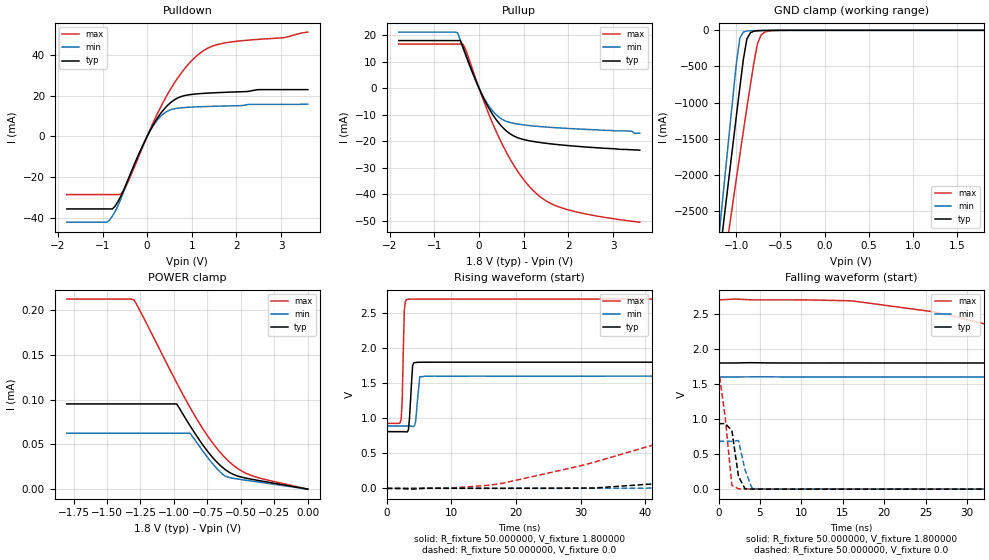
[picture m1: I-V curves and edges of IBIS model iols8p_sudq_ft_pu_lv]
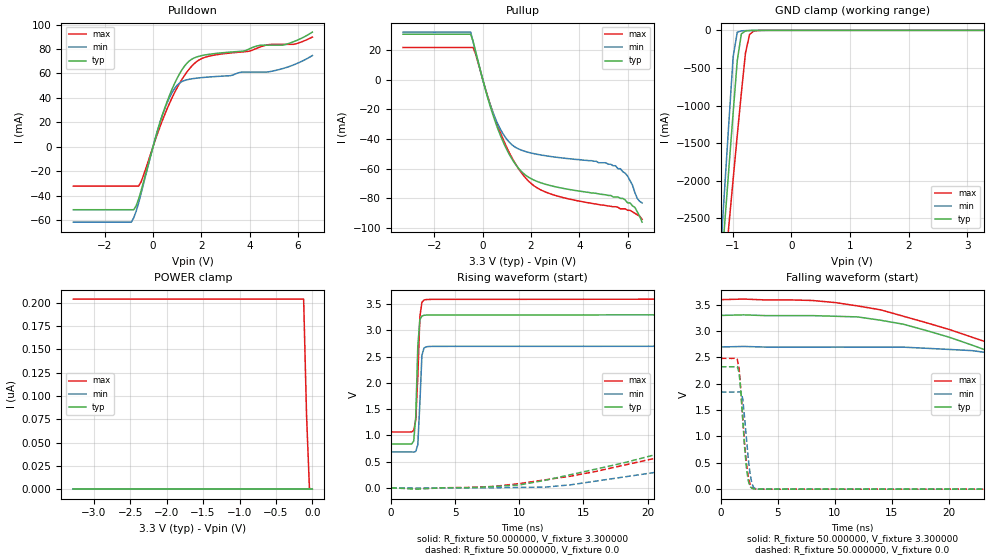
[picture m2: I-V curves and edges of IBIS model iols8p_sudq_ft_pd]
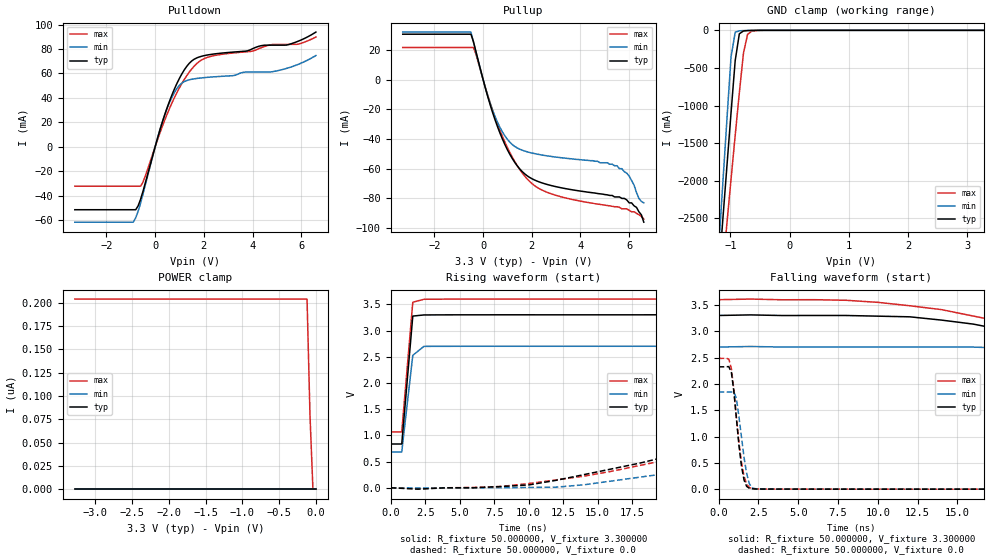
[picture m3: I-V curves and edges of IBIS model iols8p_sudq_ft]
| IBIS file stm32c0_443_wlcsp12.ibs
| Created by s2ibis version 1.1 (customized version)
| North Carolina State University, ERL, 2006
[IBIS ver] 4.2
[File name] stm32c0_443_wlcsp12.ibs
[File Rev] rev1.1
[Date]  2023-01-06
[Source] Data Created at STMicroelectronics
[Notes]  File originated from ELDO simulations.
[Disclaimer]  This information is for modeling purpose only and is
   not guaranted. The information is subject to change without
   notice.
[Copyright] Copyright 2013 STMicroelectronics Inc.
|   Component stm32c0_443_wlcsp12
[Component] stm32c0_443_wlcsp12
[Manufacturer] STMicroelectronics
[Package]
| variable   typ   min   max
R_pkg   0.0   0.0   0.0
L_pkg   0.0H   0.0H   0.0H
C_pkg   0.0F   0.0F   0.0F
[Pin]   signal_name   model_name
A2  PB6  io8prog2m25m50m120m_sudq_i2c_ft
A4  PC15  io8prog2m25m50m120m_sudq_ft
B1  PA13  io8prog2m25m50m120m_sudq_ft
B3  PC14  io8prog2m25m50m120m_sudq_i2c_ft
C2  PA14  io8prog2m25m50m120m_sudq_ft
C4  VDD  power
D3  PB7  io8prog2m25m50m120m_sudq_i2c_ft
E4  VSS  gnd
F1  PA3-PA4-PA5-PA6  io8prog2m25m50m120m_sudq_ft
F3  PF2-PA0-PA1-PA2  io8prog2m25m50m120m_sudq_ft
| in case PA8 is used
| D1  PA8-PA11  io8prog2m25m50m120m_sudq_ft
| in case PA11 is used
D1  PA8-PA11  io8prog2m25m50m120m_sudq_i2c_ft
| in case PA7 is used
| E2  PA12-PA7  io8prog2m25m50m120m_sudq_ft
| in case PA12 is used
E2  PA12-PA7  io8prog2m25m50m120m_sudq_i2c_ft
[Package Model]   443-wlcsp-12-220419
[Pin Mapping]   pulldown_ref   pullup_ref   | Comment
A2  gndio  vddiom
A4  gndio  vddiom
B1  gndio  vddiom
B3  gndio  vddiom
C2  gndio  vddiom
C4  nc  vddiom
D1  gndio  vddiom
D3  gndio  vddiom
E2  gndio  vddiom
E4  gndio  nc
F1  gndio  vddiom
F3  gndio  vddiom
[Model Selector] io8prog2m25m50m120m_sudq_ft
iols8p_sudq_ft_pd_lv  "IO low speed, PD=40kOhm - 1P8V"
iols8p_sudq_ft_pu_lv  "IO low speed, PU=40kOhm - 1P8V"
iols8p_sudq_ft_lv  "IO low speed - 1P8V"
iols8p_sudq_ft_pd  "IO low speed, PD=40kOhm - 3P3V"
iols8p_sudq_ft_pu  "IO low speed, PU=40kOhm - 3P3V"
iols8p_sudq_ft  "IO low speed - 3P3V"
iofs8p_sudq_ft_pd_lv  "IO full speed, PD=40kOhm - 1P8V"
iofs8p_sudq_ft_pu_lv  "IO full speed, PU=40kOhm - 1P8V"
iofs8p_sudq_ft_lv  "IO full speed - 1P8V"
iofs8p_sudq_ft_pd  "IO full speed, PD=40kOhm - 3P3V"
iofs8p_sudq_ft_pu  "IO full speed, PU=40kOhm - 3P3V"
iofs8p_sudq_ft  "IO full speed - 3P3V"
ioms8p_sudq_ft_pd_lv  "IO medium speed, PD=40kOhm - 1P8V"
ioms8p_sudq_ft_pu_lv  "IO medium speed, PU=40kOhm - 1P8V"
ioms8p_sudq_ft_lv  "IO medium speed - 1P8V"
ioms8p_sudq_ft_pd  "IO medium speed, PD=40kOhm - 3P3V"
ioms8p_sudq_ft_pu  "IO medium speed, PU=40kOhm - 3P3V"
ioms8p_sudq_ft  "IO medium speed - 3P3V"
iohs8p_sudq_ft_pd_lv  "IO high speed, PD=40kOhm - 1P8V"
iohs8p_sudq_ft_pu_lv  "IO high speed, PU=40kOhm - 1P8V"
iohs8p_sudq_ft_lv  "IO high speed - 1P8V"
iohs8p_sudq_ft_pd  "IO high speed, PD=40kOhm - 3P3V"
iohs8p_sudq_ft_pu  "IO high speed, PU=40kOhm - 3P3V"
iohs8p_sudq_ft  "IO high speed - 3P3V"
[Model Selector] io8prog2m25m50m120m_sudq_i2c_ft
io8prog_1v8_i2c_pd  "5V Tol GPIO 1.8V range i2c functionality with pull down"
io8prog_1v8_i2c_pu  "5V Tol GPIO 1.8V range i2c functionality with pull up"
io8prog_1v8_i2c  "5V Tol GPIO 1.8V range i2c functionality"
io8prog_3v3_i2c_pd  "5V Tol GPIO 3.3V range i2c functionality with pull down"
io8prog_3v3_i2c_pu  "5V Tol GPIO 3.3V range i2c functionality with pull up"
io8prog_3v3_i2c  "5V Tol GPIO 3.3V range i2c functionality"
iols8p_sudq_ft_pd_lv  "IO low speed, PD=40kOhm - 1P8V"
iols8p_sudq_ft_pu_lv  "IO low speed, PU=40kOhm - 1P8V"
iols8p_sudq_ft_lv  "IO low speed - 1P8V"
iols8p_sudq_ft_pd  "IO low speed, PD=40kOhm - 3P3V"
iols8p_sudq_ft_pu  "IO low speed, PU=40kOhm - 3P3V"
iols8p_sudq_ft  "IO low speed - 3P3V"
iofs8p_sudq_ft_pd_lv  "IO full speed, PD=40kOhm - 1P8V"
iofs8p_sudq_ft_pu_lv  "IO full speed, PU=40kOhm - 1P8V"
iofs8p_sudq_ft_lv  "IO full speed - 1P8V"
iofs8p_sudq_ft_pd  "IO full speed, PD=40kOhm - 3P3V"
iofs8p_sudq_ft_pu  "IO full speed, PU=40kOhm - 3P3V"
iofs8p_sudq_ft  "IO full speed - 3P3V"
ioms8p_sudq_ft_pd_lv  "IO medium speed, PD=40kOhm - 1P8V"
ioms8p_sudq_ft_pu_lv  "IO medium speed, PU=40kOhm - 1P8V"
ioms8p_sudq_ft_lv  "IO medium speed - 1P8V"
ioms8p_sudq_ft_pd  "IO medium speed, PD=40kOhm - 3P3V"
ioms8p_sudq_ft_pu  "IO medium speed, PU=40kOhm - 3P3V"
ioms8p_sudq_ft  "IO medium speed - 3P3V"
iohs8p_sudq_ft_pd_lv  "IO high speed, PD=40kOhm - 1P8V"
iohs8p_sudq_ft_pu_lv  "IO high speed, PU=40kOhm - 1P8V"
iohs8p_sudq_ft_lv  "IO high speed - 1P8V"
iohs8p_sudq_ft_pd  "IO high speed, PD=40kOhm - 3P3V"
iohs8p_sudq_ft_pu  "IO high speed, PU=40kOhm - 3P3V"
iohs8p_sudq_ft  "IO high speed - 3P3V"
[Define Package Model]  443-wlcsp-12-220419
[Manufacturer]  Unknown
[OEM]  Unknown
[Description]  None
[Number Of Pins]  12
[Pin Numbers]
| Pin Num   Terminal Name
B1 | PA13
C2 | PA14
E2 | PA12-PA7
F1 | PA3-PA4-PA5-PA6
D1 | PA8-PA11
A2 | PB6
D3 | PB7
B3 | PC14
A4 | PC15
F3 | PF2-PA0-PA1-PA2
C4 | VDD
E4 | VSS
[Model Data]
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[End Model Data]
[End Package Model]
| Models and submodels in the file (30): iols8p_sudq_ft_pd_lv (I/O), iols8p_sudq_ft_pu_lv (I/O), iols8p_sudq_ft_lv (I/O), iols8p_sudq_ft_pd (I/O), iols8p_sudq_ft_pu (I/O), iols8p_sudq_ft (I/O), iofs8p_sudq_ft_pd_lv (I/O), iofs8p_sudq_ft_pu_lv (I/O), iofs8p_sudq_ft_lv (I/O), iofs8p_sudq_ft_pd (I/O), iofs8p_sudq_ft_pu (I/O), iofs8p_sudq_ft (I/O), ioms8p_sudq_ft_pd_lv (I/O), ioms8p_sudq_ft_pu_lv (I/O), ioms8p_sudq_ft_lv (I/O), ioms8p_sudq_ft_pd (I/O), ioms8p_sudq_ft_pu (I/O), ioms8p_sudq_ft (I/O), iohs8p_sudq_ft_pd_lv (I/O), iohs8p_sudq_ft_pu_lv (I/O), iohs8p_sudq_ft_lv (I/O), iohs8p_sudq_ft_pd (I/O), iohs8p_sudq_ft_pu (I/O), iohs8p_sudq_ft (I/O), io8prog_1v8_i2c_pd (I/O_open_drain), io8prog_1v8_i2c_pu (I/O_open_drain), io8prog_1v8_i2c (I/O_open_drain), io8prog_3v3_i2c_pd (I/O_open_drain), io8prog_3v3_i2c_pu (I/O_open_drain), io8prog_3v3_i2c (I/O_open_drain)
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|   Model iols8p_sudq_ft_pu_lv
[Model]  iols8p_sudq_ft_pu_lv
Model_type I/O
Polarity   Non-Inverting
Enable   Active-Low
Vinl =   0.540000V
Vinh =   1.260000V
Vmeas =  0.900000V
Cref =   50.000000pF
Rref =   100.000000M
Vref =   0.0V
C_comp   1.984800pF   1.899400pF   2.077500pF
[Temperature Range]   25.000000   -40.000000   0.125000k
[Pullup Reference]   1.800000V   1.600000V   2.700000V
[Pulldown Reference]   0.0V   0.0V   0.0V
[POWER Clamp Reference]   1.800000V   1.600000V   2.700000V
[GND Clamp Reference]   0.0V   0.0V   0.0V
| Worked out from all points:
|   slope of the pulldown table from 0 to 0.27 V, typ, clamps not added: 26.4 ohm
|   slope of the pullup table from 0 to 0.27 V, typ, clamps not added: 30.1 ohm
|   GND clamp passes 1 mA (typ) near -0.61 V on its own axis
|   rising waveform, R_fixture 50.000000, V_fixture 1.800000: 20-80 % time 379ps typ, 423ps min, 265ps max; typ from 0.81 V to 1.8 V
|   rising waveform, R_fixture 50.000000, V_fixture 0.0: 20-80 % time 68.6ns typ, 74.3ns min, 45.2ns max; typ from 0.001 V to 0.935 V
|   falling waveform, R_fixture 50.000000, V_fixture 1.800000: 20-80 % time 72.7ns typ, 95.3ns min, 37.6ns max; typ from 1.8 V to 0.81 V
|   falling waveform, R_fixture 50.000000, V_fixture 0.0: 20-80 % time 683ps typ, 950ps min, 966ps max; typ from 0.935 V to 0.001 V
[Pulldown]
|Voltage   I(typ)   I(min)   I(max)
-1.8V     -35.64mA   -42.15mA   -28.59mA
-900mV    -35.64mA   -42.15mA   -28.59mA
-780mV    -35.64mA   -39.2mA    -28.59mA
-600mV    -29.83mA   -31.3mA    -28.52mA
-420mV    -20.8mA    -21.07mA   -21.98mA
60mV      2.604mA    2.459mA    3.062mA
240mV     9.303mA    8.31mA     11.61mA
480mV     15.67mA    12.64mA    21.52mA
720mV     19.18mA    13.9mA     29.74mA
960mV     20.46mA    14.3mA     36.27mA
1.44V     21.29mA    14.7mA     44.06mA
3.6V      22.91mA    15.79mA    51.15mA
[Pullup]
|Voltage   I(typ)   I(min)   I(max)
-1.8V     18.05mA    21.25mA    16.71mA
-540mV    18.05mA    21.25mA    16.71mA
-480mV    18.05mA    20.96mA    16.71mA
-420mV    18.05mA    18.11mA    16.71mA
-360mV    15.57mA    15.21mA    16.71mA
60mV      -2.268mA   -2.095mA   -2.822mA
360mV     -11.31mA   -9.605mA   -15.45mA
600mV     -15.96mA   -12.42mA   -23.82mA
840mV     -18.52mA   -13.44mA   -30.72mA
1.38V     -20.52mA   -14.48mA   -41.14mA
2.1V      -21.8mA    -15.27mA   -46.39mA
3.6V      -23.4mA    -17mA      -50.6mA
[GND_clamp]
|Voltage   I(typ)   I(min)   I(max)
-1.8V     -9.477A    -9.805A    -9.016A
-1.2V     -3.243A    -2.9A      -3.759A
-1.16V    -2.83A     -2.409A    -3.417A
-1.12V    -2.418A    -1.919A    -3.076A
-1.08V    -2.008A    -1.431A    -2.736A
-1V       -1.194A    -466mA     -2.061A
-960mV    -792.8mA   -108.7mA   -1.727A
-920mV    -402mA     -24.35mA   -1.396A
-880mV    -117.8mA   -9.188mA   -1.071A
-760mV    -5.896mA   -2.88mA    -183.8mA
-680mV    -2.395mA   -1.099mA   -26.61mA
1.8V      0A         0A         0A
[POWER_clamp]
|Voltage   I(typ)   I(min)   I(max)
-1.8V     95.27uA    62.52uA    212.4uA
-1.3V     95.27uA    62.52uA    211.7uA
-1.24V    95.27uA    62.52uA    195.4uA
-980mV    95.27uA    62.52uA    119uA
-880mV    70.93uA    62.52uA    91.35uA
-740mV    40.61uA    33.79uA    57.65uA
-640mV    24.64uA    16.99uA    38.63uA
-600mV    20.11uA    13.6uA     32.43uA
-540mV    15.51uA    11.72uA    24.8uA
-440mV    11.66uA    9.491uA    16.35uA
-340mV    8.934uA    7.326uA    11.65uA
0V        0A         0A         0A
[Ramp]
| variable   typ   min   max
dV/dt_r  0.56095/68.67975n   0.40953/74.27229n   1.02717/44.98407n
dV/dt_f  0.59405/72.60739n   0.42589/95.26095n   1.06315/37.53994n
R_load = 50.000000
[Rising Waveform]
R_fixture= 50.000000
V_fixture= 1.800000
V_fixture_min= 1.600000
V_fixture_max= 2.700000
|time   V(typ)   V(min)   V(max)
0s        809.8mV    890.3mV    928.1mV
2.242ns   809.8mV    890.3mV    993.3mV
2.402ns   809.8mV    890.3mV    1.271V
2.723ns   809mV      890.3mV    2.541V
3.203ns   807.2mV    890.4mV    2.695V
4.004ns   1.748V     884.3mV    2.699V
4.484ns   1.796V     960.8mV    2.699V
5.125ns   1.799V     1.593V     2.7V
5.766ns   1.8V       1.6V       2.7V
79.76ns   1.8V       1.6V       2.7V
[Rising Waveform]
R_fixture= 50.000000
V_fixture= 0.0
V_fixture_min= 0.0
V_fixture_max= 0.0
|time   V(typ)   V(min)   V(max)
0s        727.8uV    547uV      1.255mV
18.02ns   2.02mV     1.674mV    75.77mV
32.03ns   6.18mV     1.697mV    372.5mV
62.06ns   209.3mV    74.21mV    1.129V
80.08ns   398.5mV    158mV      1.429V
104.1ns   610.5mV    330.5mV    1.601V
126.1ns   738.8mV    448.3mV    1.661V
174.2ns   885.5mV    630.8mV    1.704V
248.2ns   930.2mV    683.3mV    1.714V
997ns     935.3mV    683.1mV    1.714V
[Falling Waveform]
R_fixture= 50.000000
V_fixture= 1.800000
V_fixture_min= 1.600000
V_fixture_max= 2.700000
|time   V(typ)   V(min)   V(max)
0s        1.8V       1.6V       2.7V
16.02ns   1.8V       1.6V       2.687V
26.03ns   1.8V       1.6V       2.529V
64.06ns   1.737V     1.6V       1.391V
76.08ns   1.647V     1.6V       1.186V
120.1ns   1.255V     1.504V     992.1mV
160.2ns   977.5mV    1.286V     953.6mV
200.2ns   882.5mV    1.065V     936.8mV
314.3ns   819.5mV    908.5mV    928.2mV
997ns     809.8mV    890.3mV    928.1mV
[Falling Waveform]
R_fixture= 50.000000
V_fixture= 0.0
V_fixture_min= 0.0
V_fixture_max= 0.0
|time   V(typ)   V(min)   V(max)
0s        935.3mV    683.1mV    1.714V
800.8ps   935.3mV    683.1mV    1.021V
1.602ns   838.7mV    682.5mV    55.24mV
2.402ns   181.5mV    693.4mV    5.324mV
3.203ns   4.882mV    272.1mV    4.519mV
4.004ns   1.823mV    19.9mV     4.432mV
4.805ns   1.435mV    1.988mV    4.408mV
79.28ns   727.8uV    547uV      1.255mV
|   Model iols8p_sudq_ft_pd
[Model]  iols8p_sudq_ft_pd
Model_type I/O
Polarity   Non-Inverting
Enable   Active-Low
Vinl =   0.990000V
Vinh =   2.310000V
Vmeas =  1.650000V
Cref =   50.000000pF
Rref =   100.000000M
Vref =   0.0V
C_comp   2.036400pF   1.984000pF   2.082300pF
[Temperature Range]   25.000000   -40.000000   0.125000k
[Pullup Reference]   3.300000V   2.700000V   3.600000V
[Pulldown Reference]   0.0V   0.0V   0.0V
[POWER Clamp Reference]   3.300000V   2.700000V   3.600000V
[GND Clamp Reference]   0.0V   0.0V   0.0V
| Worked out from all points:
|   slope of the pulldown table from 0 to 0.495 V, typ, clamps not added: 15.4 ohm
|   slope of the pullup table from 0 to 0.495 V, typ, clamps not added: 18.1 ohm
|   GND clamp passes 1 mA (typ) near -0.60 V on its own axis
|   rising waveform, R_fixture 50.000000, V_fixture 3.300000: 20-80 % time 204ps typ, 227ps min, 243ps max; typ from 0.835 V to 3.3 V
|   rising waveform, R_fixture 50.000000, V_fixture 0.0: 20-80 % time 24.4ns typ, 26.2ns min, 30.7ns max; typ from 0 V to 2.32 V
|   falling waveform, R_fixture 50.000000, V_fixture 3.300000: 20-80 % time 21.2ns typ, 25.4ns min, 24ns max; typ from 3.3 V to 0.835 V
|   falling waveform, R_fixture 50.000000, V_fixture 0.0: 20-80 % time 469ps typ, 493ps min, 522ps max; typ from 2.32 V to 0 V
[Pulldown]
|Voltage   I(typ)   I(min)   I(max)
-3.3V     -51.62mA   -61.83mA   -32.32mA
-900mV    -51.62mA   -61.83mA   -32.32mA
-800mV    -51.62mA   -58.24mA   -32.32mA
-500mV    -36.51mA   -38.71mA   -28.96mA
400mV     26.66mA    26.58mA    22.18mA
800mV     47.72mA    44.74mA    40.6mA
1.1V      59.79mA    52.18mA    51.93mA
1.5V      70.22mA    55.24mA    63.66mA
2.1V      74.97mA    56.75mA    72.88mA
4.9V      83.19mA    61.75mA    83.83mA
5.9V      86.64mA    67.67mA    84.15mA
6.6V      93.9mA     74.68mA    89.84mA
[Pullup]
|Voltage   I(typ)   I(min)   I(max)
-3.3V     30.51mA    31.92mA    21.54mA
-500mV    30.51mA    31.92mA    21.54mA
-300mV    19.24mA    18.93mA    17.46mA
500mV     -27.53mA   -25.31mA   -25.83mA
1V        -47.29mA   -40.29mA   -45.86mA
1.5V      -60.05mA   -46.83mA   -60.43mA
2V        -66.7mA    -49.43mA   -69.91mA
2.7V      -70.92mA   -51.53mA   -76.32mA
5.5V      -79mA      -58mA      -85.6mA
6V        -83mA      -65mA      -88mA
6.3V      -86mA      -76mA      -90mA
6.6V      -96mA      -83mA      -94mA
[GND_clamp]
|Voltage   I(typ)   I(min)   I(max)
-3.3V     -9.812A    -9.822A    -9.937A
-1.2V     -3.251A    -2.905A    -3.763A
-1.13V    -2.527A    -2.046A    -3.165A
-1.06V    -1.808A    -1.191A    -2.57A
-990mV    -1.097A    -352.7mA   -1.979A
-920mV    -404.2mA   -25.09mA   -1.398A
-850mV    -46.54mA   -6.516mA   -832.3mA
-780mV    -8.509mA   -3.59mA    -302.4mA
-710mV    -3.395mA   -1.728mA   -53.82mA
-640mV    -1.602mA   -565.6uA   -11.73mA
-360mV    -11.48uA   -7.86uA    -95.15uA
3.28V     87.11uA    57.76uA    110.6uA
[POWER_clamp]
|Voltage   I(typ)   I(min)   I(max)
-3.28V    0A         0A         204.1nA
-120mV    0A         0A         204.1nA
-80mV     0A         0A         79.47nA
-40mV     0A         0A         0A
0V        0A         0A         0A
[Ramp]
| variable   typ   min   max
dV/dt_r  1.39392/24.32512n   1.10664/26.02554n   1.48968/30.68457n
dV/dt_f  1.47853/21.12242n   1.20971/25.31352n   1.52064/23.80312n
R_load = 50.000000
[Rising Waveform]
R_fixture= 50.000000
V_fixture= 3.300000
V_fixture_min= 2.700000
V_fixture_max= 3.600000
|time   V(typ)   V(min)   V(max)
0s        834.7mV    683mV      1.064V
1.602ns   834.4mV    682.6mV    1.065V
1.762ns   890.2mV    681.2mV    1.091V
1.922ns   1.358V     691.7mV    1.293V
2.082ns   2.701V     821.7mV    2.121V
2.242ns   3.204V     1.613V     3.263V
2.402ns   3.274V     2.525V     3.537V
2.563ns   3.289V     2.664V     3.579V
2.723ns   3.292V     2.686V     3.588V
79.76ns   3.299V     2.699V     3.598V
[Rising Waveform]
R_fixture= 50.000000
V_fixture= 0.0
V_fixture_min= 0.0
V_fixture_max= 0.0
|time   V(typ)   V(min)   V(max)
0s        2.52nV     1.819nV    187.9nV
10.01ns   54.08mV    6.364mV    80.09mV
14.01ns   251mV      56.77mV    221.9mV
22.02ns   729.2mV    344.7mV    640.7mV
34.03ns   1.484V     929.4mV    1.304V
46.05ns   1.975V     1.399V     1.852V
54.05ns   2.117V     1.595V     2.09V
62.06ns   2.197V     1.7V       2.223V
100.1ns   2.301V     1.827V     2.435V
997ns     2.323V     1.844V     2.483V
[Falling Waveform]
R_fixture= 50.000000
V_fixture= 3.300000
V_fixture_min= 2.700000
V_fixture_max= 3.600000
|time   V(typ)   V(min)   V(max)
0s        3.299V     2.699V     3.598V
10.01ns   3.283V     2.698V     3.543V
16.02ns   3.132V     2.696V     3.283V
24.02ns   2.579V     2.572V     2.74V
38.04ns   1.559V     1.933V     1.812V
46.05ns   1.181V     1.508V     1.457V
60.06ns   976.5mV    964.6mV    1.241V
82.08ns   892.5mV    775.2mV    1.135V
220.2ns   834.9mV    682.5mV    1.065V
997ns     834.7mV    683mV      1.064V
[Falling Waveform]
R_fixture= 50.000000
V_fixture= 0.0
V_fixture_min= 0.0
V_fixture_max= 0.0
|time   V(typ)   V(min)   V(max)
0s        2.323V     1.844V     2.483V
1.441ns   2.327V     1.844V     2.469V
1.602ns   2.214V     1.847V     2.292V
1.762ns   1.842V     1.846V     1.876V
1.922ns   1.323V     1.714V     1.35V
2.242ns   418.5mV    976.9mV    495.4mV
2.402ns   163.5mV    592.8mV    240.7mV
2.723ns   16.02mV    107.4mV    30.17mV
3.043ns   2.769mV    10.45mV    4.778mV
79.76ns   2.52nV     1.819nV    187.9nV
|   Model iols8p_sudq_ft
[Model]  iols8p_sudq_ft
Model_type I/O
Polarity   Non-Inverting
Enable   Active-Low
Vinl =   0.990000V
Vinh =   2.310000V
Vmeas =  1.650000V
Cref =   50.000000pF
Rref =   100.000000M
Vref =   0.0V
C_comp   2.036400pF   1.984000pF   2.082300pF
[Temperature Range]   25.000000   -40.000000   0.125000k
[Pullup Reference]   3.300000V   2.700000V   3.600000V
[Pulldown Reference]   0.0V   0.0V   0.0V
[POWER Clamp Reference]   3.300000V   2.700000V   3.600000V
[GND Clamp Reference]   0.0V   0.0V   0.0V
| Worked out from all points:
|   slope of the pulldown table from 0 to 0.495 V, typ, clamps not added: 15.4 ohm
|   slope of the pullup table from 0 to 0.495 V, typ, clamps not added: 18.1 ohm
|   GND clamp passes 1 mA (typ) near -0.60 V on its own axis
|   rising waveform, R_fixture 50.000000, V_fixture 3.300000: 20-80 % time 485ps typ, 526ps min, 493ps max; typ from 0.835 V to 3.3 V
|   rising waveform, R_fixture 50.000000, V_fixture 0.0: 20-80 % time 24.3ns typ, 26.2ns min, 30.7ns max; typ from 0 V to 2.33 V
|   falling waveform, R_fixture 50.000000, V_fixture 3.300000: 20-80 % time 21.2ns typ, 25.3ns min, 23.8ns max; typ from 3.3 V to 0.835 V
|   falling waveform, R_fixture 50.000000, V_fixture 0.0: 20-80 % time 470ps typ, 493ps min, 524ps max; typ from 2.33 V to 0 V
[Pulldown]
|Voltage   I(typ)   I(min)   I(max)
-3.3V     -51.63mA   -61.84mA   -32.32mA
-900mV    -51.63mA   -61.84mA   -32.32mA
-800mV    -51.63mA   -58.24mA   -32.32mA
-500mV    -36.51mA   -38.71mA   -28.96mA
400mV     26.66mA    26.58mA    22.18mA
800mV     47.72mA    44.74mA    40.6mA
1.1V      59.79mA    52.18mA    51.93mA
1.5V      70.22mA    55.24mA    63.66mA
2.1V      74.97mA    56.75mA    72.88mA
4.9V      83.19mA    61.75mA    83.83mA
5.9V      86.64mA    67.67mA    84.15mA
6.6V      93.9mA     74.68mA    89.84mA
[Pullup]
|Voltage   I(typ)   I(min)   I(max)
-3.3V     30.51mA    31.92mA    21.54mA
-500mV    30.51mA    31.92mA    21.54mA
-300mV    19.24mA    18.93mA    17.46mA
500mV     -27.53mA   -25.31mA   -25.83mA
1V        -47.29mA   -40.29mA   -45.86mA
1.5V      -60.05mA   -46.83mA   -60.43mA
2V        -66.7mA    -49.43mA   -69.91mA
2.7V      -70.92mA   -51.53mA   -76.32mA
5.5V      -79mA      -58mA      -85.6mA
6V        -83mA      -65mA      -88mA
6.3V      -86mA      -76mA      -90mA
6.6V      -96mA      -83mA      -94mA
[GND_clamp]
|Voltage   I(typ)   I(min)   I(max)
-3.3V     -9.812A    -9.822A    -9.937A
-1.2V     -3.251A    -2.905A    -3.763A
-1.13V    -2.527A    -2.046A    -3.165A
-1.06V    -1.808A    -1.191A    -2.57A
-990mV    -1.097A    -352.6mA   -1.979A
-920mV    -404.2mA   -25.08mA   -1.398A
-850mV    -46.53mA   -6.503mA   -832.3mA
-780mV    -8.496mA   -3.578mA   -302.4mA
-710mV    -3.383mA   -1.716mA   -53.8mA
-640mV    -1.589mA   -553.8uA   -11.72mA
-360mV    -2.023uA   0A         -84.67uA
3.28V     0A         0A         0A
[POWER_clamp]
|Voltage   I(typ)   I(min)   I(max)
-3.28V    0A         0A         204.1nA
-120mV    0A         0A         204.1nA
-80mV     0A         0A         79.47nA
-40mV     0A         0A         0A
0V        0A         0A         0A
[Ramp]
| variable   typ   min   max
dV/dt_r  1.39458/24.30631n   1.10718/26.01052n   1.49064/30.64439n
dV/dt_f  1.47898/21.10039n   1.21001/25.29034n   1.52118/23.73506n
R_load = 50.000000
[Rising Waveform]
R_fixture= 50.000000
V_fixture= 3.300000
V_fixture_min= 2.700000
V_fixture_max= 3.600000
|time   V(typ)   V(min)   V(max)
0s        835mV      683.3mV    1.065V
800.8ps   835mV      682.8mV    1.066V
1.602ns   3.275V     2.526V     3.539V
2.402ns   3.297V     2.697V     3.596V
79.28ns   3.3V       2.7V       3.6V
[Rising Waveform]
R_fixture= 50.000000
V_fixture= 0.0
V_fixture_min= 0.0
V_fixture_max= 0.0
|time   V(typ)   V(min)   V(max)
0s        2.638nV    1.902nV    194.7nV
10.01ns   54.11mV    6.367mV    80.17mV
14.01ns   251.2mV    56.8mV     222.1mV
22.02ns   729.9mV    344.9mV    641.4mV
34.03ns   1.485V     930.1mV    1.306V
46.05ns   1.977V     1.4V       1.854V
58.06ns   2.168V     1.658V     2.171V
90.09ns   2.29V      1.815V     2.411V
196.2ns   2.326V     1.845V     2.486V
997ns     2.325V     1.845V     2.485V
[Falling Waveform]
R_fixture= 50.000000
V_fixture= 3.300000
V_fixture_min= 2.700000
V_fixture_max= 3.600000
|time   V(typ)   V(min)   V(max)
0s        3.3V       2.7V       3.6V
8.008ns   3.3V       2.7V       3.589V
16.02ns   3.136V     2.699V     3.288V
24.02ns   2.582V     2.575V     2.744V
36.04ns   1.686V     2.036V     1.931V
46.05ns   1.182V     1.509V     1.459V
60.06ns   976.9mV    965.9mV    1.242V
82.08ns   893mV      778.9mV    1.135V
188.2ns   836mV      683.7mV    1.067V
997ns     835mV      683.3mV    1.065V
[Falling Waveform]
R_fixture= 50.000000
V_fixture= 0.0
V_fixture_min= 0.0
V_fixture_max= 0.0
|time   V(typ)   V(min)   V(max)
0s        2.325V     1.845V     2.485V
640.6ps   2.328V     1.845V     2.47V
800.8ps   2.22V      1.847V     2.295V
961ps     1.849V     1.847V     1.879V
1.121ns   1.334V     1.716V     1.353V
1.281ns   821.7mV    1.365V     873.6mV
1.602ns   169.7mV    594.7mV    244.4mV
1.922ns   18.59mV    109.1mV    33.22mV
2.242ns   4.856mV    12mV       7.295mV
79.76ns   2.638nV    1.902nV    194.7nV
